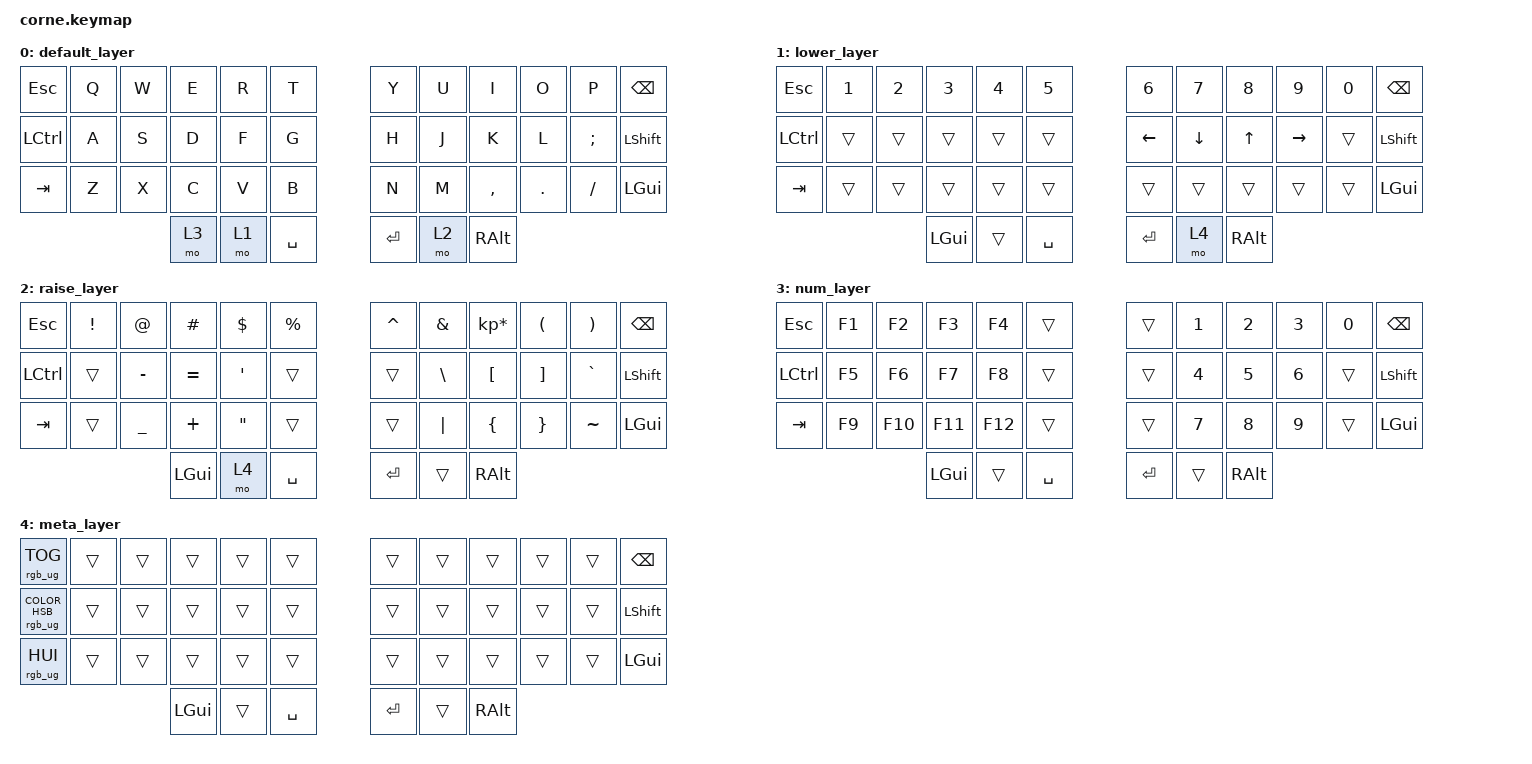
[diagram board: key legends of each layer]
/*
 * Copyright (c) 2020 The ZMK Contributors
 *
 * SPDX-License-Identifier: MIT
 */

#include <behaviors.dtsi>
#include <dt-bindings/zmk/keys.h>
#include <dt-bindings/zmk/bt.h>
#include <dt-bindings/zmk/rgb.h>

#define DEFAULT 0
#define LOWER 1
#define RAISE 2
#define NUMBER 3
#define META 4

/ {
        keymap {
                compatible = "zmk,keymap";

                default_layer {
// -----------------------------------------------------------------------------------------
// |  ESC |  Q  |  W  |  E  |  R  |  T  |   |  Y  |  U   |  I  |  O  |  P  | BKSP |
// | CTRL |  A  |  S  |  D  |  F  |  G  |   |  H  |  J   |  K  |  L  |  ;  | SHFT |
// |  TAB |  Z  |  X  |  C  |  V  |  B  |   |  N  |  M   |  ,  |  .  |  /  | GUI  |
//                    | NUM | LWR | SPC |   | ENT | RSE  | ALT |
                        bindings = <
   &kp ESC   &kp Q &kp W &kp E &kp R &kp T   &kp Y &kp U  &kp I     &kp O   &kp P    &kp BSPC
   &kp LCTRL &kp A &kp S &kp D &kp F &kp G   &kp H &kp J  &kp K     &kp L   &kp SEMI &kp LSHFT
   &kp TAB &kp Z &kp X &kp C &kp V &kp B   &kp N &kp M  &kp COMMA &kp DOT &kp FSLH &kp LGUI
                   &mo 3 &mo 1 &kp SPACE   &kp RET &mo 2 &kp RALT
                        >;
                };
                lower_layer {
// -----------------------------------------------------------------------------------------
// |  ESC |  1  |  2  |  3  |  4  |  5  |   |  6  |  7  |  8  |  9  |  0  | BKSP |
// | CTRL |     |     |     |     |     |   | LFT | DWN |  UP | RGT |     | SHFT |
// |  TAB |     |     |     |     |     |   |     |     |     |     |     |  GUI |
//                    |     |     | SPC |   | ENT |     | ALT |
                        bindings = <
   &kp ESC    &kp N1       &kp N2       &kp N3       &kp N4       &kp N5         &kp N6   &kp N7   &kp N8 &kp N9    &kp N0 &kp BSPC
   &kp LCTRL  &trans       &trans       &trans       &trans       &trans	 &kp LEFT &kp DOWN &kp UP &kp RIGHT &trans &kp LSHFT
   &kp  TAB   &trans       &trans       &trans       &trans       &trans         &trans   &trans   &trans &trans    &trans &kp LGUI
                                    	&kp LGUI     &trans       &kp SPACE      &kp RET  &mo 4    &kp RALT
                        >;
                };

                raise_layer {
// -----------------------------------------------------------------------------------------
// |  ESC |  !  |  @  |  #  |  $  |  %  |   |  ^  |  &  |  *  |  (  |  )  | BKSP |
// | CTRL |     |  -  |  =  |  '  |     |   |     |  \  |  [  |  ]  |  `  | SHFT |     
// |  TAB |     |  _  |  +  |  "  |     |   |     | "|" |  {  |  }  |  ~  |  GUI |     
//                    |     |     | SPC |   | ENT |     | ALT |
                        bindings = <
   &kp  ESC  &kp EXCL &kp AT    &kp HASH    &kp DLLR      &kp PRCNT   &kp CARET  &kp AMPS  &kp KP_MULTIPLY &kp LPAR &kp RPAR  &kp BSPC
   &kp LCTRL &trans   &kp MINUS &kp EQUAL   &kp SQT       &trans      &trans     &kp BSLH  &kp LBKT        &kp RBKT &kp GRAVE &kp LSHFT
   &kp  TAB  &trans   &kp UNDER &kp PLUS    &kp DQT       &trans      &trans  	 &kp PIPE  &kp LBRC        &kp RBRC &kp TILDE &kp LGUI
                      &kp LGUI  &mo 4       &kp SPACE     &kp RET     &trans     &kp RALT
                        >;
                };

                num_layer {
// -----------------------------------------------------------------------------------------
// |  ESC | F1  | F1  | F3  | F4  |     |   |     |  1  |  2  |  3  |     | BKSP |
// | CTRL | F5  | F6  | F7  | F8  |     |   |     |  4  |  5  |  6  |     | SHFT |     
// | SHFT | F9  | F10 | F11 | F12 |     |   |     |  7  |  8  |  9  |     |  GUI |     
//                    |     |     | SPC |   | ENT |     | ALT |
                        bindings = <
   &kp  ESC  &kp F1 &kp F2  &kp F3   &kp F4   &trans      &trans    &kp N1    &kp N2   &kp N3 &kp N0 &kp BSPC
   &kp LCTRL &kp F5 &kp F6  &kp F7   &kp F8   &trans      &trans    &kp N4    &kp N5   &kp N6 &trans &kp LSHFT
   &kp  TAB  &kp F9 &kp F10 &kp F11  &kp F12  &trans      &trans    &kp N7    &kp N8   &kp N9 &trans &kp LGUI
                            &kp LGUI &trans  &kp SPACE    &kp RET   &trans    &kp RALT
                        >;
                };
                meta_layer {
// -----------------------------------------------------------------------------------------
// |  ESC |  1  |  2  |  3  |  4  |  5  |   |  6  |  7  |  8  |  9  |  0  | BKSP |
// | CTRL |     |     |     |     |     |   | LFT | DWN |  UP | RGT |     | SHFT |
// |  TAB |     |     |     |     |     |   |     |     |     |     |     |  GUI |
//                    |     |     | SPC |   | ENT |     | ALT |
                        bindings = <
   &rgb_ug RGB_TOG                    &trans   &trans     &trans   &trans      &trans   &trans   &trans   &trans &trans &trans &kp BSPC
   &rgb_ug RGB_COLOR_HSB(36,100,100)  &trans   &trans     &trans   &trans      &trans   &trans   &trans   &trans &trans &trans &kp LSHFT
   &rgb_ug RGB_HUI                    &trans   &trans     &trans   &trans      &trans   &trans   &trans   &trans &trans &trans &kp LGUI
                                    	       &kp LGUI   &trans   &kp SPACE   &kp RET  &trans   &kp RALT
                        >;
                };
        };
};
